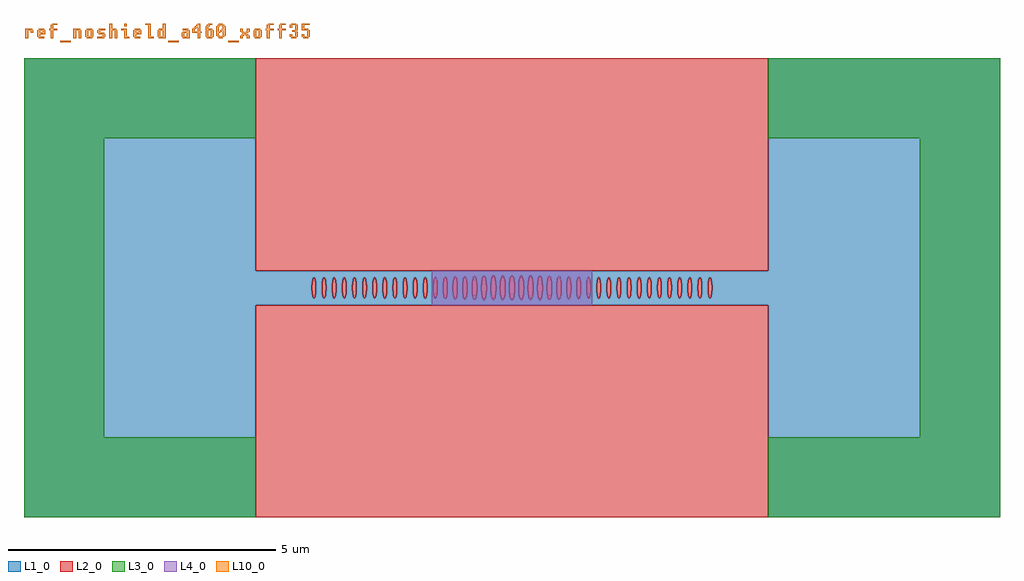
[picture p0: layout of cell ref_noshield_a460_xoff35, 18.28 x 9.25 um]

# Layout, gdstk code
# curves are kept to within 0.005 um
import gdstk
lib = gdstk.Library(unit=1e-6, precision=1e-09)
def R(c, l, rs):  # rectangles x0, y0, x1, y1
    for r in rs: c.add(gdstk.rectangle(r[:2], r[2:], *l))
def P(c, l, *ps):  # polygons
    for p in ps: c.add(gdstk.Polygon(p, *l))
L1_0 = (1, 0)
L2_0 = (2, 0)
L3_0 = (3, 0)
L4_0 = (4, 0)
L10_0 = (10, 0)

ref_noshield_a460_xoff35 = lib.new_cell('ref_noshield_a460_xoff35')
P(ref_noshield_a460_xoff35, L1_0, [(-2.796,0.075),(-2.796,0.325),(-4.803,0.325),(-4.803,4.3),(-9.138,4.3),(-9.138,-0.038),(-3.746,-0.038),(-3.74,0.108),(-3.73,0.162),(-3.709,0.195),(-3.694,0.18),(-3.682,0.138),(-3.671,0),(-3.557,0),(-3.546,0.138),(-3.534,0.18),(-3.519,0.195),(-3.512,0.191),(-3.498,0.162),(-3.487,0.108),(-3.482,-0.038),(-3.367,-0.038),(-3.361,0.108),(-3.351,0.162),(-3.33,0.195),(-3.315,0.18),(-3.303,0.138),(-3.292,0),(-3.178,0),(-3.167,0.138),(-3.155,0.18),(-3.14,0.195),(-3.119,0.162),(-3.108,0.108),(-3.103,-0.038),(-2.988,-0.038),(-2.982,0.108),(-2.972,0.162),(-2.951,0.195),(-2.929,0.162),(-2.913,0.038),(-2.919,-0.108),(-2.929,-0.162),(-2.951,-0.195),(-2.972,-0.162),(-2.988,-0.038),(-3.103,-0.038),(-3.119,-0.162),(-3.133,-0.191),(-3.147,-0.191),(-3.161,-0.162),(-3.172,-0.108),(-3.178,0),(-3.292,0),(-3.303,-0.138),(-3.315,-0.18),(-3.33,-0.195),(-3.351,-0.162),(-3.367,-0.038),(-3.482,-0.038),(-3.498,-0.162),(-3.512,-0.191),(-3.526,-0.191),(-3.54,-0.162),(-3.551,-0.108),(-3.557,0),(-3.671,0),(-3.682,-0.138),(-3.694,-0.18),(-3.709,-0.195),(-3.73,-0.162),(-3.746,-0.038),(-9.138,-0.038),(-9.138,-4.3),(-4.803,-4.3),(-4.803,-0.325),(-2.796,-0.325)],
  [(-1.849,0.075),(-1.835,0.162),(-1.821,0.191),(-1.821,0.325),(-2.796,0.325),(-2.796,0.075),(-2.776,0.18),(-2.761,0.195),(-2.754,0.191),(-2.74,0.162),(-2.729,0.108),(-2.724,-0.038),(-2.609,-0.038),(-2.603,0.108),(-2.593,0.162),(-2.572,0.195),(-2.557,0.18),(-2.545,0.138),(-2.534,0),(-2.42,0),(-2.409,0.138),(-2.397,0.18),(-2.382,0.195),(-2.361,0.162),(-2.35,0.108),(-2.345,-0.038),(-2.23,-0.038),(-2.224,0.108),(-2.214,0.162),(-2.193,0.195),(-2.178,0.18),(-2.166,0.138),(-2.155,0),(-2.041,0),(-2.03,0.138),(-2.018,0.18),(-2.003,0.195),(-1.996,0.191),(-1.982,0.162),(-1.971,0.108),(-1.965,0),(-1.976,-0.138),(-1.989,-0.18),(-2.003,-0.195),(-2.018,-0.18),(-2.03,-0.138),(-2.041,0),(-2.155,0),(-2.166,-0.138),(-2.178,-0.18),(-2.193,-0.195),(-2.214,-0.162),(-2.23,-0.038),(-2.345,-0.038),(-2.355,-0.138),(-2.368,-0.18),(-2.382,-0.195),(-2.397,-0.18),(-2.409,-0.138),(-2.42,0),(-2.534,0),(-2.545,-0.138),(-2.557,-0.18),(-2.572,-0.195),(-2.593,-0.162),(-2.609,-0.038),(-2.724,-0.038),(-2.734,-0.138),(-2.747,-0.18),(-2.761,-0.195),(-2.782,-0.162),(-2.796,-0.075),(-2.796,-0.325),(-1.821,-0.325),(-1.821,-0.191),(-1.835,-0.162),(-1.849,-0.075)],
  [(-1.806,0.191),(-1.792,0.162),(-1.782,0.108),(-1.776,0),(-1.663,0),(-1.651,0.139),(-1.639,0.181),(-1.624,0.196),(-1.61,0.181),(-1.597,0.139),(-1.586,0),(-1.475,0),(-1.464,0.141),(-1.451,0.184),(-1.436,0.199),(-1.421,0.184),(-1.408,0.141),(-1.396,-0.019),(-1.29,-0.019),(-1.276,0.154),(-1.262,0.193),(-1.247,0.204),(-1.232,0.185),(-1.219,0.141),(-1.209,-0.02),(-1.107,-0.02),(-1.098,0.129),(-1.078,0.197),(-1.062,0.209),(-1.046,0.19),(-1.033,0.144),(-1.021,-0.02),(-1.033,-0.144),(-1.046,-0.19),(-1.062,-0.209),(-1.078,-0.197),(-1.092,-0.158),(-1.107,-0.02),(-1.209,-0.02),(-1.219,-0.141),(-1.232,-0.185),(-1.247,-0.204),(-1.262,-0.193),(-1.276,-0.154),(-1.29,-0.019),(-1.396,-0.019),(-1.408,-0.141),(-1.421,-0.184),(-1.436,-0.199),(-1.451,-0.184),(-1.464,-0.141),(-1.475,0),(-1.586,0),(-1.597,-0.139),(-1.61,-0.181),(-1.624,-0.196),(-1.639,-0.181),(-1.651,-0.139),(-1.663,0),(-1.776,0),(-1.778,-0.075),(-1.792,-0.162),(-1.806,-0.191),(-1.821,-0.191),(-1.821,-0.325),(-0.888,-0.325),(-0.888,-0.212),(-0.904,-0.185),(-0.917,-0.132),(-0.926,-0.02),(-0.917,0.132),(-0.904,0.185),(-0.888,0.212),(-0.888,0.325),(-1.821,0.325),(-1.821,0.191)],
  [(-0.048,0.082),(-0.031,0.182),(-0.005,0.227),(-0.005,0.325),(-0.888,0.325),(-0.888,0.212),(-0.871,0.208),(-0.849,0.147),(-0.837,0.04),(-0.837,-0.04),(-0.748,-0.04),(-0.748,0.04),(-0.736,0.147),(-0.722,0.195),(-0.706,0.217),(-0.688,0.21),(-0.667,0.147),(-0.655,0.04),(-0.655,-0.041),(-0.572,-0.041),(-0.572,0.041),(-0.56,0.15),(-0.545,0.199),(-0.528,0.221),(-0.51,0.214),(-0.487,0.15),(-0.475,0),(-0.398,0),(-0.385,0.152),(-0.37,0.201),(-0.352,0.224),(-0.343,0.224),(-0.325,0.201),(-0.31,0.152),(-0.297,0),(-0.225,0),(-0.212,0.153),(-0.188,0.218),(-0.169,0.226),(-0.15,0.203),(-0.135,0.153),(-0.122,0),(-0.135,-0.153),(-0.15,-0.203),(-0.169,-0.226),(-0.188,-0.218),(-0.212,-0.153),(-0.225,0),(-0.297,0),(-0.31,-0.152),(-0.325,-0.201),(-0.343,-0.224),(-0.362,-0.216),(-0.385,-0.152),(-0.398,0),(-0.475,0),(-0.487,-0.15),(-0.502,-0.199),(-0.519,-0.221),(-0.537,-0.214),(-0.553,-0.177),(-0.572,-0.041),(-0.655,-0.041),(-0.673,-0.174),(-0.688,-0.21),(-0.706,-0.217),(-0.73,-0.174),(-0.748,-0.04),(-0.837,-0.04),(-0.855,-0.174),(-0.871,-0.208),(-0.888,-0.212),(-0.888,-0.325),(-0.005,-0.325),(-0.005,-0.227),(-0.023,-0.204),(-0.044,-0.12),(-0.052,0)],
  [(0.048,-0.082),(0.023,-0.204),(0.005,-0.227),(-0.005,-0.227),(-0.005,-0.325),(0.867,-0.325),(0.867,-0.202),(0.846,-0.132),(0.837,-0.02),(0.846,0.132),(0.867,0.202),(0.867,0.325),(-0.005,0.325),(-0.005,0.227),(0.014,0.219),(0.031,0.182),(0.044,0.12),(0.052,0),(0.122,0),(0.135,0.153),(0.15,0.203),(0.169,0.226),(0.188,0.218),(0.212,0.153),(0.225,0),(0.297,0),(0.31,0.152),(0.325,0.201),(0.343,0.224),(0.362,0.216),(0.385,0.152),(0.395,0.081),(0.397,-0.041),(0.475,-0.041),(0.475,0.041),(0.487,0.15),(0.502,0.199),(0.519,0.221),(0.537,0.214),(0.56,0.15),(0.572,0),(0.654,0),(0.661,0.115),(0.673,0.174),(0.688,0.21),(0.706,0.217),(0.73,0.174),(0.748,0.04),(0.748,-0.04),(0.736,-0.147),(0.722,-0.195),(0.706,-0.217),(0.688,-0.21),(0.673,-0.174),(0.661,-0.115),(0.654,0),(0.572,0),(0.56,-0.15),(0.545,-0.199),(0.528,-0.221),(0.51,-0.214),(0.494,-0.177),(0.475,-0.041),(0.397,-0.041),(0.385,-0.152),(0.37,-0.201),(0.352,-0.224),(0.343,-0.224),(0.325,-0.201),(0.31,-0.152),(0.297,0),(0.225,0),(0.212,-0.153),(0.196,-0.203),(0.178,-0.226),(0.159,-0.218),(0.15,-0.203),(0.135,-0.153),(0.122,0),(0.052,0)],
  [(0.884,0.213),(0.9,0.194),(0.914,0.147),(0.926,-0.02),(1.021,-0.02),(1.03,0.129),(1.043,0.181),(1.058,0.207),(1.066,0.209),(1.082,0.19),(1.095,0.144),(1.107,-0.019),(1.208,-0.019),(1.222,0.154),(1.236,0.193),(1.251,0.204),(1.266,0.185),(1.279,0.141),(1.29,0),(1.396,0),(1.408,0.141),(1.421,0.184),(1.436,0.199),(1.451,0.184),(1.464,0.141),(1.475,0),(1.586,0),(1.597,0.139),(1.61,0.181),(1.624,0.196),(1.646,0.163),(1.656,0.109),(1.662,-0.038),(1.646,-0.163),(1.624,-0.196),(1.61,-0.181),(1.597,-0.139),(1.586,0),(1.475,0),(1.464,-0.141),(1.451,-0.184),(1.436,-0.199),(1.421,-0.184),(1.408,-0.141),(1.396,0),(1.29,0),(1.279,-0.141),(1.266,-0.185),(1.251,-0.204),(1.236,-0.193),(1.222,-0.154),(1.208,-0.019),(1.107,-0.019),(1.095,-0.144),(1.082,-0.19),(1.066,-0.209),(1.05,-0.197),(1.036,-0.158),(1.021,-0.02),(0.926,-0.02),(0.908,-0.174),(0.892,-0.208),(0.875,-0.212),(0.867,-0.202),(0.867,-0.325),(1.814,-0.325),(1.814,-0.195),(1.792,-0.162),(1.776,-0.038),(1.782,0.108),(1.792,0.162),(1.814,0.195),(1.814,0.325),(0.867,0.325),(0.867,0.202)],
  [(2.726,0.075),(2.74,0.162),(2.761,0.195),(2.776,0.18),(2.793,0.108),(2.793,0.325),(1.814,0.325),(1.814,0.195),(1.828,0.18),(1.84,0.138),(1.851,0),(1.965,0),(1.976,0.138),(1.989,0.18),(2.003,0.195),(2.018,0.18),(2.035,0.108),(2.04,-0.038),(2.155,-0.038),(2.161,0.108),(2.171,0.162),(2.193,0.195),(2.207,0.18),(2.219,0.138),(2.23,0),(2.344,0),(2.355,0.138),(2.368,0.18),(2.382,0.195),(2.397,0.18),(2.414,0.108),(2.419,-0.038),(2.534,-0.038),(2.54,0.108),(2.55,0.162),(2.572,0.195),(2.593,0.162),(2.609,0.038),(2.603,-0.108),(2.593,-0.162),(2.572,-0.195),(2.55,-0.162),(2.534,-0.038),(2.419,-0.038),(2.403,-0.162),(2.389,-0.191),(2.375,-0.191),(2.361,-0.162),(2.35,-0.108),(2.344,0),(2.23,0),(2.219,-0.138),(2.207,-0.18),(2.193,-0.195),(2.171,-0.162),(2.155,-0.038),(2.04,-0.038),(2.03,-0.138),(2.018,-0.18),(2.003,-0.195),(1.989,-0.18),(1.976,-0.138),(1.965,0),(1.851,0),(1.84,-0.138),(1.828,-0.18),(1.814,-0.195),(1.814,-0.325),(2.793,-0.325),(2.793,-0.108),(2.782,-0.162),(2.768,-0.191),(2.754,-0.191),(2.74,-0.162),(2.726,-0.075)],
  [(2.793,-0.108),(2.793,-0.325),(4.803,-0.325),(4.803,-4.3),(9.138,-4.3),(9.138,4.3),(4.803,4.3),(4.803,0.325),(2.793,0.325),(2.798,-0.038),(2.913,-0.038),(2.919,0.108),(2.929,0.162),(2.951,0.195),(2.965,0.18),(2.977,0.138),(2.988,0),(3.102,0),(3.113,0.138),(3.133,0.191),(3.147,0.191),(3.161,0.162),(3.172,0.108),(3.177,-0.038),(3.292,-0.038),(3.298,0.108),(3.308,0.162),(3.33,0.195),(3.344,0.18),(3.356,0.138),(3.367,0),(3.481,0),(3.492,0.138),(3.505,0.18),(3.519,0.195),(3.534,0.18),(3.551,0.108),(3.556,-0.038),(3.671,-0.038),(3.677,0.108),(3.687,0.162),(3.709,0.195),(3.73,0.162),(3.746,0.038),(3.74,-0.108),(3.73,-0.162),(3.709,-0.195),(3.687,-0.162),(3.671,-0.038),(3.556,-0.038),(3.54,-0.162),(3.526,-0.191),(3.512,-0.191),(3.498,-0.162),(3.487,-0.108),(3.481,0),(3.367,0),(3.356,-0.138),(3.344,-0.18),(3.33,-0.195),(3.308,-0.162),(3.292,-0.038),(3.177,-0.038),(3.161,-0.162),(3.147,-0.191),(3.133,-0.191),(3.119,-0.162),(3.108,-0.108),(3.102,0),(2.988,0),(2.977,-0.138),(2.965,-0.18),(2.951,-0.195),(2.929,-0.162),(2.913,-0.038),(2.798,-0.038)])
R(ref_noshield_a460_xoff35, L2_0, [(-4.803,-4.3,4.803,-0.325), (-4.803,0.325,4.803,4.3)])
P(ref_noshield_a460_xoff35, L2_0, [(1.968,-0.075),(1.982,-0.162),(2.003,-0.195),(2.018,-0.18),(2.035,-0.108),(2.041,0),(2.035,0.108),(2.018,0.18),(2.003,0.195),(1.982,0.162),(1.971,0.108)],
  [(-0.222,-0.082),(-0.212,-0.153),(-0.188,-0.218),(-0.178,-0.226),(-0.159,-0.218),(-0.135,-0.153),(-0.123,-0.042),(-0.125,0.082),(-0.142,0.181),(-0.169,0.226),(-0.188,0.218),(-0.212,0.153),(-0.224,0.042)],
  [(3.484,-0.075),(3.498,-0.162),(3.519,-0.195),(3.534,-0.18),(3.551,-0.108),(3.557,0),(3.551,0.108),(3.534,0.18),(3.519,0.195),(3.498,0.162),(3.487,0.108)],
  [(-3.554,-0.075),(-3.54,-0.162),(-3.519,-0.195),(-3.498,-0.162),(-3.487,-0.108),(-3.481,0),(-3.487,0.108),(-3.498,0.162),(-3.519,0.195),(-3.534,0.18),(-3.551,0.108)],
  [(3.105,-0.075),(3.119,-0.162),(3.14,-0.195),(3.155,-0.18),(3.172,-0.108),(3.178,0),(3.172,0.108),(3.155,0.18),(3.14,0.195),(3.119,0.162),(3.108,0.108)],
  [(-3.175,-0.075),(-3.161,-0.162),(-3.14,-0.195),(-3.119,-0.162),(-3.108,-0.108),(-3.102,0),(-3.108,0.108),(-3.119,0.162),(-3.14,0.195),(-3.155,0.18),(-3.172,0.108)],
  [(2.726,-0.075),(2.74,-0.162),(2.761,-0.195),(2.776,-0.18),(2.793,-0.108),(2.799,0),(2.793,0.108),(2.776,0.18),(2.761,0.195),(2.74,0.162),(2.729,0.108)],
  [(-2.796,-0.075),(-2.782,-0.162),(-2.761,-0.195),(-2.74,-0.162),(-2.729,-0.108),(-2.723,0),(-2.729,0.108),(-2.74,0.162),(-2.761,0.195),(-2.776,0.18),(-2.793,0.108)],
  [(2.347,-0.075),(2.361,-0.162),(2.382,-0.195),(2.397,-0.18),(2.414,-0.108),(2.42,0),(2.414,0.108),(2.397,0.18),(2.382,0.195),(2.361,0.162),(2.35,0.108)],
  [(-2.417,-0.075),(-2.403,-0.162),(-2.382,-0.195),(-2.361,-0.162),(-2.35,-0.108),(-2.344,0),(-2.35,0.108),(-2.361,0.162),(-2.382,0.195),(-2.397,0.18),(-2.414,0.108)],
  [(-2.038,-0.075),(-2.024,-0.162),(-2.003,-0.195),(-1.982,-0.162),(-1.971,-0.108),(-1.965,0),(-1.971,0.108),(-1.982,0.162),(-2.003,0.195),(-2.018,0.18),(-2.035,0.108)],
  [(-1.66,-0.075),(-1.646,-0.163),(-1.632,-0.192),(-1.624,-0.196),(-1.61,-0.181),(-1.592,-0.109),(-1.586,0),(-1.592,0.109),(-1.603,0.163),(-1.624,0.196),(-1.646,0.163),(-1.656,0.109)],
  [(1.589,-0.075),(1.603,-0.163),(1.624,-0.196),(1.646,-0.163),(1.656,-0.109),(1.66,0.075),(1.646,0.163),(1.624,0.196),(1.603,0.163),(1.592,0.109)],
  [(1.472,0.076),(1.464,0.141),(1.444,0.196),(1.428,0.196),(1.421,0.184),(1.403,0.111),(1.399,-0.076),(1.414,-0.166),(1.436,-0.199),(1.458,-0.166),(1.469,-0.111)],
  [(-0.301,0.081),(-0.317,0.18),(-0.343,0.224),(-0.362,0.216),(-0.37,0.201),(-0.391,0.118),(-0.398,0),(-0.391,-0.118),(-0.378,-0.18),(-0.352,-0.224),(-0.343,-0.224),(-0.325,-0.201),(-0.31,-0.152),(-0.298,-0.041)],
  [(0.658,-0.079),(0.673,-0.174),(0.688,-0.21),(0.697,-0.217),(0.714,-0.21),(0.736,-0.147),(0.748,-0.04),(0.745,0.079),(0.73,0.174),(0.706,0.217),(0.688,0.21),(0.68,0.195),(0.661,0.115),(0.654,0)],
  [(-1.472,-0.076),(-1.464,-0.141),(-1.444,-0.196),(-1.428,-0.196),(-1.421,-0.184),(-1.403,-0.111),(-1.396,-0.019),(-1.399,0.076),(-1.414,0.166),(-1.436,0.199),(-1.458,0.166),(-1.469,0.111)],
  [(0.301,-0.081),(0.317,-0.18),(0.343,-0.224),(0.362,-0.216),(0.37,-0.201),(0.391,-0.118),(0.398,0),(0.391,0.118),(0.378,0.18),(0.352,0.224),(0.343,0.224),(0.325,0.201),(0.31,0.152),(0.298,0.041)],
  [(0.222,0.082),(0.212,0.153),(0.188,0.218),(0.178,0.226),(0.159,0.218),(0.135,0.153),(0.123,0.042),(0.125,-0.082),(0.142,-0.181),(0.169,-0.226),(0.188,-0.218),(0.212,-0.153),(0.224,-0.042)],
  [(0.048,0.082),(0.031,0.182),(0.005,0.227),(-0.005,0.227),(-0.023,0.204),(-0.044,0.12),(-0.052,0),(-0.044,-0.12),(-0.023,-0.204),(-0.005,-0.227),(0.005,-0.227),(0.023,-0.204),(0.044,-0.12),(0.052,0)],
  [(1.287,0.076),(1.273,0.166),(1.251,0.204),(1.228,0.176),(1.217,0.126),(1.208,0.019),(1.213,-0.093),(1.228,-0.176),(1.251,-0.204),(1.273,-0.166),(1.283,-0.11)],
  [(-1.285,-0.093),(-1.269,-0.176),(-1.255,-0.202),(-1.247,-0.204),(-1.225,-0.166),(-1.214,-0.11),(-1.208,0),(-1.214,0.11),(-1.225,0.166),(-1.247,0.204),(-1.262,0.193),(-1.281,0.126),(-1.29,0.019)],
  [(-0.921,-0.098),(-0.911,-0.162),(-0.888,-0.212),(-0.871,-0.208),(-0.863,-0.194),(-0.844,-0.116),(-0.837,-0.04),(-0.84,0.079),(-0.855,0.174),(-0.879,0.213),(-0.888,0.212),(-0.904,0.185),(-0.917,0.132),(-0.926,0.02)],
  [(0.842,-0.098),(0.852,-0.162),(0.875,-0.212),(0.892,-0.208),(0.9,-0.194),(0.919,-0.116),(0.926,-0.04),(0.923,0.079),(0.908,0.174),(0.884,0.213),(0.875,0.212),(0.859,0.185),(0.846,0.132),(0.837,0.02)],
  [(1.106,0.04),(1.095,0.144),(1.074,0.203),(1.066,0.209),(1.05,0.197),(1.03,0.129),(1.021,0.02),(1.026,-0.096),(1.043,-0.181),(1.066,-0.209),(1.082,-0.19),(1.1,-0.113)],
  [(-1.022,0.04),(-1.033,0.144),(-1.054,0.203),(-1.062,0.209),(-1.078,0.197),(-1.098,0.129),(-1.107,0.02),(-1.102,-0.096),(-1.085,-0.181),(-1.062,-0.209),(-1.046,-0.19),(-1.028,-0.113)],
  [(3.677,-0.108),(3.687,-0.162),(3.709,-0.195),(3.73,-0.162),(3.744,-0.075),(3.74,0.108),(3.73,0.162),(3.709,0.195),(3.687,0.162),(3.673,0.075)],
  [(1.849,0.075),(1.835,0.162),(1.814,0.195),(1.792,0.162),(1.782,0.108),(1.778,-0.075),(1.792,-0.162),(1.814,-0.195),(1.835,-0.162),(1.845,-0.108)],
  [(-1.778,0.075),(-1.792,0.162),(-1.814,0.195),(-1.835,0.162),(-1.845,0.108),(-1.849,-0.075),(-1.835,-0.162),(-1.814,-0.195),(-1.792,-0.162),(-1.782,-0.108)],
  [(-2.157,0.075),(-2.171,0.162),(-2.193,0.195),(-2.214,0.162),(-2.224,0.108),(-2.228,-0.075),(-2.214,-0.162),(-2.193,-0.195),(-2.171,-0.162),(-2.161,-0.108)],
  [(2.228,0.075),(2.214,0.162),(2.193,0.195),(2.171,0.162),(2.161,0.108),(2.157,-0.075),(2.171,-0.162),(2.193,-0.195),(2.214,-0.162),(2.224,-0.108)],
  [(-2.536,0.075),(-2.55,0.162),(-2.572,0.195),(-2.593,0.162),(-2.603,0.108),(-2.607,-0.075),(-2.593,-0.162),(-2.572,-0.195),(-2.55,-0.162),(-2.54,-0.108)],
  [(2.607,0.075),(2.593,0.162),(2.572,0.195),(2.55,0.162),(2.54,0.108),(2.536,-0.075),(2.55,-0.162),(2.572,-0.195),(2.593,-0.162),(2.603,-0.108)],
  [(-2.915,0.075),(-2.929,0.162),(-2.951,0.195),(-2.972,0.162),(-2.982,0.108),(-2.986,-0.075),(-2.972,-0.162),(-2.951,-0.195),(-2.929,-0.162),(-2.919,-0.108)],
  [(2.986,0.075),(2.972,0.162),(2.951,0.195),(2.929,0.162),(2.919,0.108),(2.915,-0.075),(2.929,-0.162),(2.951,-0.195),(2.972,-0.162),(2.982,-0.108)],
  [(-3.294,0.075),(-3.308,0.162),(-3.33,0.195),(-3.351,0.162),(-3.361,0.108),(-3.365,-0.075),(-3.351,-0.162),(-3.33,-0.195),(-3.308,-0.162),(-3.298,-0.108)],
  [(3.365,0.075),(3.351,0.162),(3.33,0.195),(3.308,0.162),(3.298,0.108),(3.294,-0.075),(3.308,-0.162),(3.33,-0.195),(3.351,-0.162),(3.361,-0.108)],
  [(-3.673,0.075),(-3.687,0.162),(-3.709,0.195),(-3.73,0.162),(-3.74,0.108),(-3.744,-0.075),(-3.73,-0.162),(-3.709,-0.195),(-3.687,-0.162),(-3.677,-0.108)],
  [(-0.741,-0.115),(-0.73,-0.174),(-0.706,-0.217),(-0.688,-0.21),(-0.68,-0.195),(-0.661,-0.115),(-0.654,0),(-0.661,0.115),(-0.68,0.195),(-0.697,0.217),(-0.714,0.21),(-0.722,0.195),(-0.741,0.115),(-0.748,0.04)],
  [(-0.478,0.08),(-0.487,0.15),(-0.51,0.214),(-0.519,0.221),(-0.537,0.214),(-0.56,0.15),(-0.572,0.041),(-0.569,-0.08),(-0.553,-0.177),(-0.528,-0.221),(-0.51,-0.214),(-0.487,-0.15),(-0.475,-0.041)],
  [(0.569,0.08),(0.56,0.15),(0.537,0.214),(0.528,0.221),(0.51,0.214),(0.487,0.15),(0.475,0.041),(0.478,-0.08),(0.494,-0.177),(0.519,-0.221),(0.537,-0.214),(0.56,-0.15),(0.572,-0.041)])
P(ref_noshield_a460_xoff35, L3_0, [(9.138,-4.3),(9.138,4.3),(4.803,4.3),(4.803,2.8),(7.638,2.8),(7.638,-2.8),(4.803,-2.8),(4.803,-4.3)],
  [(-4.803,-2.8),(-7.638,-2.8),(-7.638,2.8),(-4.803,2.8),(-4.803,4.3),(-9.138,4.3),(-9.138,-4.3),(-4.803,-4.3)])
R(ref_noshield_a460_xoff35, L4_0, [(-1.5,-0.325,1.5,0.325)])
R(ref_noshield_a460_xoff35, L10_0, [(-8.463,4.6,-8.263,4.625), (-6.438,4.6,-6.238,4.625), (-5.313,4.6,-5.113,4.625), (-5.463,4.8,-5.438,4.825), (-7.263,4.9,-7.213,4.95)])
P(ref_noshield_a460_xoff35, L10_0, [(-9.063,4.675),(-9.063,4.825),(-9.013,4.825),(-9.013,4.775),(-8.963,4.775),(-8.963,4.825),(-8.988,4.825),(-8.988,4.85),(-9.113,4.85),(-9.113,4.675)],
  [(-8.863,4.7),(-8.863,4.675),(-8.763,4.675),(-8.763,4.7),(-8.838,4.7),(-8.838,4.75),(-8.738,4.75),(-8.738,4.825),(-8.763,4.825),(-8.763,4.85),(-8.863,4.85),(-8.863,4.825),(-8.888,4.825),(-8.888,4.775),(-8.838,4.775),(-8.838,4.825),(-8.788,4.825),(-8.788,4.775),(-8.838,4.775),(-8.888,4.775),(-8.888,4.7)],
  [(-8.638,4.85),(-8.663,4.85),(-8.663,4.825),(-8.638,4.825),(-8.638,4.675),(-8.588,4.675),(-8.588,4.825),(-8.513,4.825),(-8.513,4.85),(-8.588,4.85),(-8.588,4.925),(-8.513,4.925),(-8.513,4.95),(-8.613,4.95),(-8.613,4.925),(-8.638,4.925)],
  [(-8.163,4.675),(-8.163,4.825),(-8.113,4.825),(-8.113,4.675),(-8.063,4.675),(-8.063,4.825),(-8.088,4.825),(-8.088,4.85),(-8.213,4.85),(-8.213,4.675)],
  [(-7.838,4.825),(-7.863,4.825),(-7.863,4.85),(-7.963,4.85),(-7.963,4.825),(-7.988,4.825),(-7.988,4.7),(-7.938,4.7),(-7.938,4.825),(-7.888,4.825),(-7.888,4.7),(-7.938,4.7),(-7.988,4.7),(-7.963,4.7),(-7.963,4.675),(-7.863,4.675),(-7.863,4.7),(-7.838,4.7)],
  [(-7.763,4.775),(-7.738,4.775),(-7.738,4.75),(-7.663,4.75),(-7.663,4.7),(-7.763,4.7),(-7.763,4.675),(-7.638,4.675),(-7.638,4.7),(-7.613,4.7),(-7.613,4.75),(-7.638,4.75),(-7.638,4.775),(-7.713,4.775),(-7.713,4.825),(-7.613,4.825),(-7.613,4.85),(-7.738,4.85),(-7.738,4.825),(-7.763,4.825)],
  [(-7.488,4.675),(-7.488,4.825),(-7.438,4.825),(-7.438,4.675),(-7.388,4.675),(-7.388,4.825),(-7.413,4.825),(-7.413,4.85),(-7.488,4.85),(-7.488,4.95),(-7.538,4.95),(-7.538,4.675)],
  [(-7.263,4.675),(-7.163,4.675),(-7.163,4.7),(-7.213,4.7),(-7.213,4.85),(-7.313,4.85),(-7.313,4.825),(-7.263,4.825)],
  [(-7.063,4.7),(-7.063,4.675),(-6.963,4.675),(-6.963,4.7),(-7.038,4.7),(-7.038,4.75),(-6.938,4.75),(-6.938,4.825),(-6.963,4.825),(-6.963,4.85),(-7.063,4.85),(-7.063,4.825),(-7.088,4.825),(-7.088,4.775),(-7.038,4.775),(-7.038,4.825),(-6.988,4.825),(-6.988,4.775),(-7.038,4.775),(-7.088,4.775),(-7.088,4.7)],
  [(-6.813,4.675),(-6.713,4.675),(-6.713,4.7),(-6.763,4.7),(-6.763,4.95),(-6.863,4.95),(-6.863,4.925),(-6.813,4.925)],
  [(-6.538,4.95),(-6.538,4.85),(-6.613,4.85),(-6.613,4.825),(-6.638,4.825),(-6.638,4.7),(-6.588,4.7),(-6.588,4.825),(-6.538,4.825),(-6.538,4.7),(-6.588,4.7),(-6.638,4.7),(-6.613,4.7),(-6.613,4.675),(-6.488,4.675),(-6.488,4.95)],
  [(-6.063,4.825),(-6.063,4.85),(-6.163,4.85),(-6.163,4.825),(-6.088,4.825),(-6.088,4.8),(-6.163,4.8),(-6.163,4.775),(-6.188,4.775),(-6.188,4.7),(-6.138,4.7),(-6.138,4.775),(-6.088,4.775),(-6.088,4.7),(-6.138,4.7),(-6.188,4.7),(-6.163,4.7),(-6.163,4.675),(-6.038,4.675),(-6.038,4.825)],
  [(-5.838,4.675),(-5.838,4.775),(-5.813,4.775),(-5.813,4.8),(-5.838,4.8),(-5.838,4.95),(-5.888,4.95),(-5.888,4.925),(-5.913,4.925),(-5.913,4.9),(-5.938,4.9),(-5.938,4.875),(-5.963,4.875),(-5.963,4.85),(-5.988,4.85),(-5.988,4.8),(-5.938,4.8),(-5.938,4.85),(-5.913,4.85),(-5.913,4.875),(-5.888,4.875),(-5.888,4.8),(-5.938,4.8),(-5.988,4.8),(-5.988,4.775),(-5.888,4.775),(-5.888,4.675)],
  [(-5.588,4.825),(-5.613,4.825),(-5.613,4.85),(-5.688,4.85),(-5.688,4.9),(-5.663,4.9),(-5.663,4.925),(-5.613,4.925),(-5.613,4.95),(-5.688,4.95),(-5.688,4.925),(-5.713,4.925),(-5.713,4.9),(-5.738,4.9),(-5.738,4.7),(-5.688,4.7),(-5.688,4.825),(-5.638,4.825),(-5.638,4.7),(-5.688,4.7),(-5.738,4.7),(-5.713,4.7),(-5.713,4.675),(-5.613,4.675),(-5.613,4.7),(-5.588,4.7)],
  [(-5.388,4.725),(-5.363,4.725),(-5.363,4.9),(-5.388,4.9),(-5.388,4.925),(-5.413,4.925),(-5.413,4.95),(-5.488,4.95),(-5.488,4.925),(-5.513,4.925),(-5.513,4.9),(-5.538,4.9),(-5.538,4.725),(-5.488,4.725),(-5.488,4.775),(-5.463,4.775),(-5.463,4.8),(-5.488,4.8),(-5.488,4.9),(-5.463,4.9),(-5.463,4.925),(-5.438,4.925),(-5.438,4.9),(-5.413,4.9),(-5.413,4.85),(-5.438,4.85),(-5.438,4.825),(-5.413,4.825),(-5.413,4.725),(-5.438,4.725),(-5.438,4.7),(-5.463,4.7),(-5.463,4.725),(-5.488,4.725),(-5.538,4.725),(-5.513,4.725),(-5.513,4.7),(-5.488,4.7),(-5.488,4.675),(-5.413,4.675),(-5.413,4.7),(-5.388,4.7)],
  [(-5.063,4.8),(-5.063,4.775),(-5.038,4.775),(-5.038,4.75),(-5.063,4.75),(-5.063,4.725),(-5.088,4.725),(-5.088,4.675),(-5.038,4.675),(-5.038,4.725),(-5.013,4.725),(-5.013,4.75),(-4.988,4.75),(-4.988,4.725),(-4.963,4.725),(-4.963,4.675),(-4.913,4.675),(-4.913,4.725),(-4.938,4.725),(-4.938,4.75),(-4.963,4.75),(-4.963,4.775),(-4.938,4.775),(-4.938,4.8),(-4.913,4.8),(-4.913,4.85),(-4.963,4.85),(-4.963,4.8),(-4.988,4.8),(-4.988,4.775),(-5.013,4.775),(-5.013,4.8),(-5.038,4.8),(-5.038,4.85),(-5.088,4.85),(-5.088,4.8)],
  [(-4.688,4.825),(-4.713,4.825),(-4.713,4.85),(-4.813,4.85),(-4.813,4.825),(-4.838,4.825),(-4.838,4.7),(-4.788,4.7),(-4.788,4.825),(-4.738,4.825),(-4.738,4.7),(-4.788,4.7),(-4.838,4.7),(-4.813,4.7),(-4.813,4.675),(-4.713,4.675),(-4.713,4.7),(-4.688,4.7)],
  [(-4.588,4.85),(-4.613,4.85),(-4.613,4.825),(-4.588,4.825),(-4.588,4.675),(-4.538,4.675),(-4.538,4.825),(-4.463,4.825),(-4.463,4.85),(-4.538,4.85),(-4.538,4.925),(-4.463,4.925),(-4.463,4.95),(-4.563,4.95),(-4.563,4.925),(-4.588,4.925)],
  [(-4.363,4.85),(-4.388,4.85),(-4.388,4.825),(-4.363,4.825),(-4.363,4.675),(-4.313,4.675),(-4.313,4.825),(-4.238,4.825),(-4.238,4.85),(-4.313,4.85),(-4.313,4.925),(-4.238,4.925),(-4.238,4.95),(-4.338,4.95),(-4.338,4.925),(-4.363,4.925)],
  [(-4.138,4.7),(-4.138,4.675),(-4.038,4.675),(-4.038,4.7),(-4.013,4.7),(-4.013,4.8),(-4.038,4.8),(-4.038,4.825),(-4.013,4.825),(-4.013,4.925),(-4.038,4.925),(-4.038,4.95),(-4.138,4.95),(-4.138,4.925),(-4.163,4.925),(-4.163,4.875),(-4.113,4.875),(-4.113,4.925),(-4.063,4.925),(-4.063,4.825),(-4.113,4.825),(-4.113,4.8),(-4.063,4.8),(-4.063,4.7),(-4.113,4.7),(-4.113,4.75),(-4.163,4.75),(-4.163,4.7)],
  [(-3.913,4.7),(-3.913,4.675),(-3.813,4.675),(-3.813,4.7),(-3.788,4.7),(-3.788,4.825),(-3.813,4.825),(-3.813,4.85),(-3.888,4.85),(-3.888,4.925),(-3.788,4.925),(-3.788,4.95),(-3.938,4.95),(-3.938,4.825),(-3.838,4.825),(-3.838,4.7),(-3.888,4.7),(-3.888,4.75),(-3.938,4.75),(-3.938,4.7)])

lib.write_gds('ref_noshield_a460_xoff35.gds')
